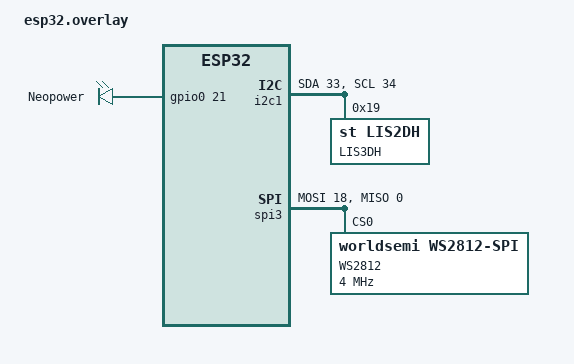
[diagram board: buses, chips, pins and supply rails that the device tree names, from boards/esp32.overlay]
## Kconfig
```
# Copyright (c) 2021 Golioth, Inc.
# SPDX-License-Identifier: Apache-2.0

mainmenu "Golioth application options"

if DNS_RESOLVER

config DNS_SERVER_IP_ADDRESSES
	default y

config DNS_SERVER1
	default "1.1.1.1"

config MAGTAG_NAME
	string "MagTag Name"
	default "MagTag-One"
	help
		Used during automatic provisioning for workshops

endif # DNS_RESOLVER

rsource "../magtag-common/KConfig"

source "Kconfig.zephyr"
```

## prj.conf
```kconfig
CONFIG_GOLIOTH_SAMPLES_COMMON=y

# Generic networking options
CONFIG_NETWORKING=y
CONFIG_NET_IPV4=y
CONFIG_NET_IPV6=n

# Logging
CONFIG_NET_LOG=y

# Network Shell
CONFIG_NET_SHELL=n

# TLS configuration
CONFIG_MBEDTLS_ENABLE_HEAP=y
CONFIG_MBEDTLS_HEAP_SIZE=10240
CONFIG_MBEDTLS_SSL_MAX_CONTENT_LEN=2048

# Application
CONFIG_MAIN_STACK_SIZE=4096
CONFIG_SYSTEM_WORKQUEUE_STACK_SIZE=2048

CONFIG_GOLIOTH=y
CONFIG_GOLIOTH_SYSTEM_CLIENT=y

CONFIG_MINIMAL_LIBC_MALLOC_ARENA_SIZE=256

# WS2812 Driver
CONFIG_LED_STRIP=y
CONFIG_LED_STRIP_LOG_LEVEL_DBG=y
CONFIG_WS2812_STRIP=y

# Accelerometer
CONFIG_GPIO=y
CONFIG_I2C=y
CONFIG_SENSOR=y
CONFIG_LIS2DH=y
CONFIG_CBPRINTF_FP_SUPPORT=y

CONFIG_LOG_BACKEND_GOLIOTH=y
CONFIG_LOG_PROCESS_THREAD_STACK_SIZE=2048

# MagTag Common Files
CONFIG_MAGTAG_COMMON=y
CONFIG_MAGTAG_EPAPER=y
CONFIG_MAGTAG_WS2812=y
CONFIG_MAGTAG_ACCELEROMETER=y
CONFIG_MAGTAG_BUTTONS=y
```

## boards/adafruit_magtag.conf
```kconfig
# Copyright (c) 2023 Golioth, Inc.
# SPDX-License-Identifier: Apache-2.0

CONFIG_WIFI=y
CONFIG_HEAP_MEM_POOL_SIZE=37760

CONFIG_NET_L2_ETHERNET=y

CONFIG_NET_DHCPV4=y

CONFIG_NET_CONFIG_LOG_LEVEL_DBG=y
CONFIG_NET_CONFIG_NEED_IPV4=y

CONFIG_MBEDTLS_ENTROPY_ENABLED=y
CONFIG_MBEDTLS_KEY_EXCHANGE_ECDHE_ECDSA_ENABLED=y
CONFIG_MBEDTLS_ECP_ALL_ENABLED=y

CONFIG_ESP32_WIFI_STA_AUTO_DHCPV4=y

CONFIG_GOLIOTH_SAMPLE_WIFI=y

# when enabling NET_SHELL, the following
# helps to optimize memory footprint
CONFIG_ESP32_WIFI_STATIC_RX_BUFFER_NUM=8
CONFIG_ESP32_WIFI_DYNAMIC_RX_BUFFER_NUM=8
CONFIG_ESP32_WIFI_DYNAMIC_TX_BUFFER_NUM=8
CONFIG_ESP32_WIFI_IRAM_OPT=n
CONFIG_ESP32_WIFI_RX_IRAM_OPT=n
```

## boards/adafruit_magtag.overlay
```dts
/*
 * Copyright (c) 2023 Golioth, Inc.
 *
 * SPDX-License-Identifier: Apache-2.0
 */

&wifi {
    status = "okay";
};
```

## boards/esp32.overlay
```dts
&i2c1 {
	sda-pin = <33>;
	scl-pin = <34>;
	status = "okay";

	lis3dh@25 {
			compatible = "st,lis2dh";
			reg = <25>;
			label = "LIS3DH";
	};
};

&spi3 {
    mosi-pin = < 18 >;
	miso-pin = < 0 >;
	sclk-pin = < 0 >;
	csel-pin = < 0 >;
	led_strip: ws2812@0 {
		compatible = "worldsemi,ws2812-spi";
		label = "WS2812";

		/* SPI */
		reg = <0>; /* ignored, but necessary for SPI bindings */
		spi-max-frequency = <4000000>;

		/* WS2812 */
		chain-length = <4>; /* arbitrary; change at will */
		spi-one-frame = <0x70>;
		spi-zero-frame = <0x40>;
		color-mapping = <2 1 3>;
	};
};

/ {
	aliases {
		led-strip = &led_strip;
		neopower = &neopower;
	};

	leds {
        compatible = "gpio-leds";
        neopower: neo_power {
            gpios = <&gpio0 21 GPIO_ACTIVE_HIGH>;
            label = "Neopower";
        };
    };
};
```

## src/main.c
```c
/*
 * Copyright (c) 2022 Golioth, Inc.
 *
 * SPDX-License-Identifier: Apache-2.0
 */

/* Logging */
#include <stdlib.h>
#include <zephyr/logging/log.h>
LOG_MODULE_REGISTER(golioth_magtag, LOG_LEVEL_DBG);

/* Golioth platform includes */
#include <net/golioth/system_client.h>
#include <samples/common/net_connect.h>
#include <zephyr/net/coap.h>

/* MagTag specific hardware includes */
#include "magtag-common/magtag_epaper.h"
#include "magtag-common/ws2812_control.h"
#include "magtag-common/accel.h"
#include "magtag-common/buttons.h"

#define DEBOUNCE_MS	200
volatile uint64_t debounce = 0;

#define BUTTON_ACTION_ARRAY_SIZE	16
#define BUTTON_ACTION_LEN		1
K_MSGQ_DEFINE(button_action_msgq,
		BUTTON_ACTION_LEN,
		BUTTON_ACTION_ARRAY_SIZE,
		1);

/* Golioth */
static struct golioth_client *client = GOLIOTH_SYSTEM_CLIENT_GET();
static K_SEM_DEFINE(connected, 0, 1);

static void golioth_on_connect(struct golioth_client *client)
{
	k_sem_give(&connected);
}

static int lightdb_handler(struct golioth_req_rsp *rsp)
{
	if (rsp->err) {
		LOG_WRN("Asnyc Golioth function failed: %d", rsp->err);
		return rsp->err;
	}
	return 0;
}

static int record_accelerometer(const struct device *sensor)
{
	struct sensor_value accel[3];
	fetch_and_display(sensor, accel);
	char str[160];
	snprintk(str, sizeof(str) - 1,
			"{\"x\":%f,\"y\":%f,\"z\":%f}",
			sensor_value_to_double(&accel[0]),
			sensor_value_to_double(&accel[1]),
			sensor_value_to_double(&accel[2])
			);
	int err = golioth_stream_push_cb(client, "accel",
				GOLIOTH_CONTENT_FORMAT_APP_JSON,
				str, strlen(str),
				lightdb_handler, NULL);
	if (err) {
		return err;
	}
	return 0;
}

/* Timers for sound (PWM not yet implemented in ESP32s2 */
#define ACTIVATE_NODE DT_ALIAS(activate)
#define SOUND_NODE DT_ALIAS(sound)
static const struct gpio_dt_spec act = GPIO_DT_SPEC_GET(ACTIVATE_NODE, gpios);
static const struct gpio_dt_spec snd = GPIO_DT_SPEC_GET(SOUND_NODE, gpios);

void make_sound_timer_handler(struct k_timer *dummy)
{
    gpio_pin_toggle_dt(&snd);
}

K_TIMER_DEFINE(make_sound_timer, make_sound_timer_handler, NULL);

void end_note_timer_handler(struct k_timer *dummy)
{
    k_timer_stop(&make_sound_timer);
	gpio_pin_set_dt(&snd, 0);
	gpio_pin_set_dt(&act, 0);
}

K_TIMER_DEFINE(end_note_timer, end_note_timer_handler, NULL);
uint16_t notes[4] = {764,580,470,400};

void button_action_work_handler(struct k_work *work) {
	while (k_msgq_num_used_get(&button_action_msgq)) {
		uint8_t i;
		k_msgq_get(&button_action_msgq, &i, K_NO_WAIT);
		int8_t toggle_val = led_states[i].state > 0 ? 0 : 1;
		led_states[i].state = toggle_val;
		/* update local LED output immediately */
		ws2812_blit(strip, led_states, STRIP_NUM_PIXELS);

		gpio_pin_set_dt(&act, 1);
		k_timer_start(&make_sound_timer, K_USEC(notes[i]), K_USEC(notes[i]));
		k_timer_start(&end_note_timer, K_MSEC(200), K_NO_WAIT);

		/* Build the endpoint with the correct LED number */
		uint8_t endpoint[32];
		snprintk(endpoint, sizeof(endpoint)-1, "Button_%c", 'A'+i);
		/* convert the toggle_val digit into a string */
		char false_buf[6] = "false";
		char true_buf[5] = "true";
		char *state_p = toggle_val==0 ? false_buf : true_buf;

		/* Update the LightDB state endpoint on the Golioth Cloud */
		int err = golioth_lightdb_set_cb(client, endpoint,
				GOLIOTH_CONTENT_FORMAT_APP_JSON,
				state_p, strlen(state_p),
				lightdb_handler, NULL);
		if (err) {
			LOG_WRN("Failed to update Button_%c: %d", 'A'+i, err);
		}
	}
}

K_WORK_DEFINE(button_action_work, button_action_work_handler);

/**
 * @brief Handle button presses and update LEDs
 *
 * This function will update the on/off state of the LED by setting turning the
 * actual LED on or off and writing the new value to LightDB state
 *
 * @param dev 	device struct
 * @param cb 	callback struct
 * @param pins 	pinmask representing buttons that are pressed
 */
void button_pressed(const struct device *dev, struct gpio_callback *cb,
		    uint32_t pins)
{
	if (debounce > k_uptime_ticks())
	{
		/* too soon to register another button press */
		return;
	}
	else
	{
		/* register the timeout value for the next press */
		debounce = sys_clock_timeout_end_calc(K_MSEC(DEBOUNCE_MS));
	}

	/* Array to check which button was pressed */
	uint32_t button_result[] = {
		pins & BIT(button0.pin),
		pins & BIT(button1.pin),
		pins & BIT(button2.pin),
		pins & BIT(button3.pin)
	};

	/* Process each button press that was detected */
	for (uint8_t i=0; i<4; i++) {
		if (button_result[i] != 0)
		{
			LOG_INF("Button %c pressed", 'A'+i);
			k_msgq_put(&button_action_msgq, &i, K_NO_WAIT);
		}
	}

	k_work_submit(&button_action_work);
}

void main(void)
{
	LOG_DBG("Start MagTag demo");

	#ifdef CONFIG_MAGTAG_NAME
	LOG_INF("Device name: %s", CONFIG_MAGTAG_NAME);
	#else
	#define CONFIG_MAGTAG_NAME "MagTag"
	#endif

	/* Init leds and set two blue pixels to show until we connect to Golioth */
	ws2812_init();
	leds_immediate(BLACK, BLUE, BLUE, BLACK);

	/* Initialize MagTag hardware */
	ws2812_init();
	/* show two blue pixels to show until we connect to Golioth */
	leds_immediate(BLACK, BLUE, BLUE, BLACK);
	epaper_init();
	if (IS_ENABLED(CONFIG_GOLIOTH_SAMPLES_COMMON)) {
		net_connect();
	}

	client->on_connect = golioth_on_connect;
	golioth_system_client_start();

	/* wait until we've connected to golioth */
	k_sem_take(&connected, K_FOREVER);

	/* Accelerometer */
	accelerometer_init();

	/* buttons */
	buttons_init(button_pressed);

	/* Setup pins for sound */
	gpio_pin_configure_dt(&act, GPIO_OUTPUT_ACTIVE);
	gpio_pin_configure_dt(&snd, GPIO_OUTPUT_ACTIVE);
	gpio_pin_set_dt(&act, 0);

	/* ePaper */
	epaper_write(CONFIG_MAGTAG_NAME, strlen(CONFIG_MAGTAG_NAME), 14, -1, 2);

	/* write successful connection message to screen */
	LOG_INF("Connected to Golioth!: %s", CONFIG_MAGTAG_NAME);
	epaper_autowrite("Connected to Golioth!", 21);
	
	led_states[0].color = RED; led_states[0].state = 1;
	led_states[1].color = GREEN; led_states[1].state = 1;
	led_states[2].color = BLUE; led_states[2].state = 1;
	led_states[3].color = YELLOW; led_states[3].state = 1;
	ws2812_blit(strip, led_states, STRIP_NUM_PIXELS);

	/* write starting button values to LightDB state */
	uint8_t endpoint[32];
	for (uint8_t i=0; i<4; i++) {
		snprintk(endpoint, sizeof(endpoint)-1, "Button_%c", 'A'+i);
		int err = golioth_lightdb_set(client,
				  endpoint,
				  GOLIOTH_CONTENT_FORMAT_APP_JSON,
				  "true", 4);
		if (err) {
			LOG_WRN("Failed to update Button_%c: %d", 'A'+i, err);
		}
	}

	int err;
	while (true) {
		record_accelerometer(sensor);
		k_sleep(K_SECONDS(5));
	}
}
```
